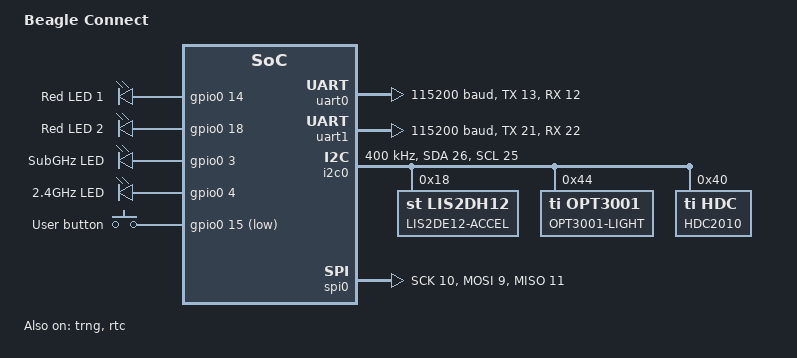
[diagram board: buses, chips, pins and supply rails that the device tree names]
/*
 * Copyright (c) 2020 Erik Larson
 *
 * SPDX-License-Identifier: Apache-2.0
 */

/dts-v1/;

#include <ti/cc1352r.dtsi>
/*
 * Define some constants from driverlib/ioc.h in TI HAL,
 * since we don't have a way to include the file directly.
 */
#define IOC_PORT_MCU_UART0_TX 0x00000010
#define IOC_PORT_MCU_UART0_RX 0x0000000F
#define IOC_PORT_MCU_UART1_TX 0x00000014
#define IOC_PORT_MCU_UART1_RX 0x00000013

#define BTN_GPIO_FLAGS (GPIO_ACTIVE_LOW | GPIO_PULL_UP)

/ {
    model = "Beagle Connect";
    compatible = "beagleboard,beagle-connect";

    aliases {
        led1 = &red_led;
        led2 = &green_led;
        led-subghz = &led_sub_ghz;
        led-2-4ghz = &led_2_4_ghz;
        sw0 = &user_button_0;
    };

    chosen {
        zephyr,sram = &sram0;
        zephyr,flash = &flash0;
        zephyr,console = &uart1;
        zephyr,shell-uart = &uart1;
    };

    leds {
        compatible = "gpio-leds";
        red_led: led_0 {
            gpios = <&gpio0 14 GPIO_ACTIVE_HIGH>;
            label = "Red LED 1";
        };
        green_led: led_1 {
            gpios = <&gpio0 18 GPIO_ACTIVE_HIGH>;
            label = "Red LED 2";
        };
        led_sub_ghz: led_2 {
            gpios = <&gpio0 3 GPIO_ACTIVE_HIGH>;
            label = "SubGHz LED";
        };
        led_2_4_ghz: led_3 {
            gpios = <&gpio0 4 GPIO_ACTIVE_HIGH>;
            label = "2.4GHz LED";
        };
    };

    gpio_keys {
        compatible = "gpio-keys";
        user_button_0: button_0 {
            label = "User button";
            gpios = <&gpio0 15 GPIO_ACTIVE_LOW>;
        };
    };
};

&cpu0 {
    clock-frequency = <48000000>;
};

&trng {
    status = "okay";
};

&gpio0 {
    status = "okay";
};

&uart0 {
    status = "okay";
    current-speed = <115200>;
    tx-pin = <13 IOC_PORT_MCU_UART0_TX>;
    rx-pin = <12 IOC_PORT_MCU_UART0_RX>;
};

&uart1 {
    status = "okay";
    current-speed = <115200>;
    tx-pin = <21 IOC_PORT_MCU_UART1_TX>;
    rx-pin = <22 IOC_PORT_MCU_UART1_RX>;
};

&i2c0 {
    status = "okay";
    clock-frequency = <I2C_BITRATE_FAST>;
    scl-pin = <25>;
    sda-pin = <26>;

    lis2dh12-accel@18 {
        compatible = "st,lis2dh12", "st,lis2dh", "st,lis2de12";
        reg = <0x18>;
        label = "LIS2DE12-ACCEL";
    };

    opt3001-light@44 {
        compatible = "ti,opt3001";
        reg = <0x44>;
        label = "OPT3001-LIGHT";
    };

    hdc2010@40 {
        compatible = "ti,hdc";
        reg = <0x40>;
        label = "HDC2010";
    };
};

&spi0 {
    status = "okay";
    sck-pin = <10>;
    mosi-pin = <9>;
    miso-pin = <11>;
    cs-pin = <8>;
};

&rtc {
    status = "okay";
};
